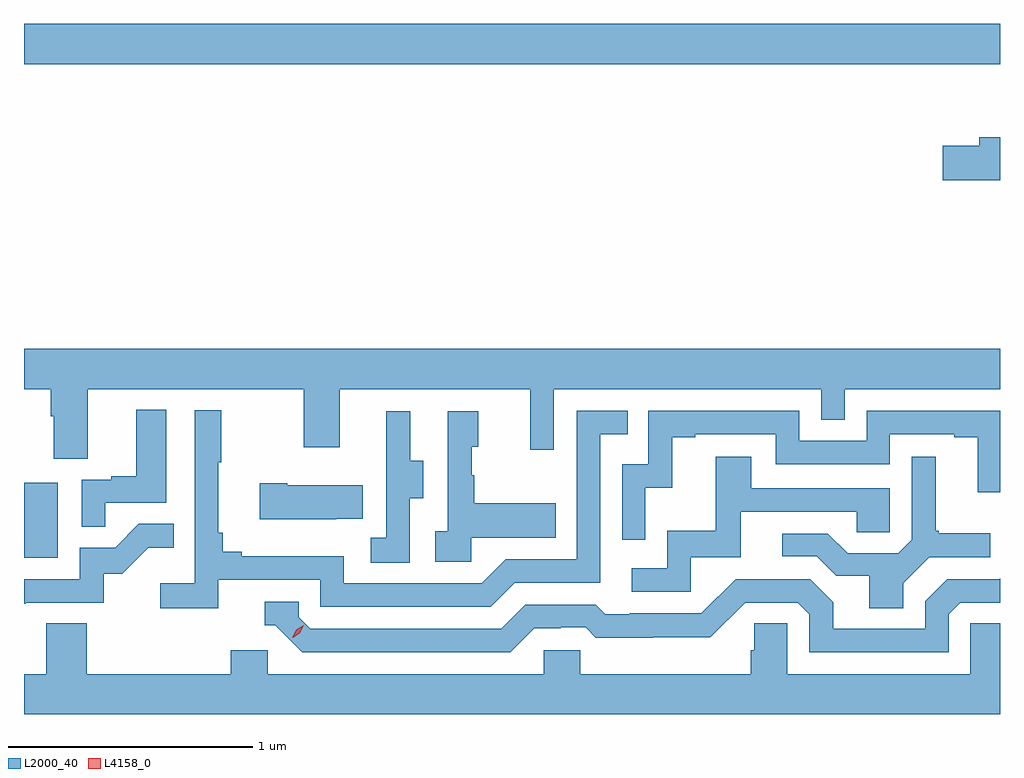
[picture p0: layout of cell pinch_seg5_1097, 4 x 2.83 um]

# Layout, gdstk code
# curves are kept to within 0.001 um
import gdstk
lib = gdstk.Library(unit=1e-6, precision=1e-09)
def R(c, l, rs):  # rectangles x0, y0, x1, y1
    for r in rs: c.add(gdstk.rectangle(r[:2], r[2:], *l))
def P(c, l, *ps):  # polygons
    for p in ps: c.add(gdstk.Polygon(p, *l))
L2000_40 = (2000, 40)
L4158_0 = (4158, 0)

pinch_seg5_1097 = lib.new_cell('pinch_seg5_1097')
R(pinch_seg5_1097, L2000_40, [(814.917,853.404,815.056,853.711), (814.917,855.428,818.917,855.592)])
P(pinch_seg5_1097, L2000_40, [(818.917,855.127),(818.831,855.127),(818.831,855.093),(818.682,855.093),(818.682,854.951),(818.917,854.951)],
  [(815.179,854.096),(816.064,854.096),(816.064,853.857),(816.211,853.857),(816.211,854.096),(816.992,854.096),(816.992,853.848),(817.089,853.848),(817.089,854.096),(818.184,854.096),(818.184,853.969),(818.28,853.969),(818.28,854.096),(818.917,854.096),(818.917,854.26),(814.917,854.26),(814.917,854.096),(815.027,854.096),(815.027,853.984),(815.039,853.984),(815.039,853.81),(815.179,853.81)],
  [(815.249,853.629),(815.5,853.629),(815.5,854.011),(815.378,854.011),(815.378,853.738),(815.275,853.738),(815.275,853.725),(815.154,853.725),(815.154,853.531),(815.249,853.531)],
  [(815.714,853.314),(816.132,853.314),(816.132,853.203),(816.829,853.203),(816.928,853.302),(817.278,853.302),(817.278,853.911),(817.391,853.911),(817.391,854.007),(817.182,854.007),(817.182,853.398),(816.891,853.398),(816.792,853.299),(816.228,853.299),(816.228,853.411),(815.809,853.411),(815.809,853.43),(815.732,853.43),(815.732,853.507),(815.713,853.507),(815.713,853.795),(815.725,853.795),(815.725,854.008),(815.616,854.008),(815.616,853.3),(815.475,853.3),(815.475,853.198),(815.714,853.198)],
  [(817.464,853.691),(817.574,853.691),(817.574,853.899),(817.669,853.899),(817.669,853.911),(817.998,853.911),(817.998,853.788),(818.466,853.788),(818.466,853.911),(818.729,853.911),(818.729,853.899),(818.825,853.899),(818.825,853.673),(818.917,853.673),(818.917,854.007),(818.37,854.007),(818.37,853.884),(818.094,853.884),(818.094,854.007),(817.476,854.007),(817.476,853.788),(817.368,853.788),(817.368,853.479),(817.464,853.479)],
  [(816.75,853.487),(817.097,853.487),(817.097,853.627),(816.763,853.627),(816.763,853.742),(816.753,853.742),(816.753,853.86),(816.778,853.86),(816.778,854.005),(816.654,854.005),(816.654,853.514),(816.603,853.514),(816.603,853.389),(816.75,853.389)],
  [(816.498,853.648),(816.553,853.648),(816.553,853.803),(816.499,853.803),(816.499,854.005),(816.401,854.005),(816.401,853.791),(816.402,853.791),(816.402,853.487),(816.339,853.487),(816.339,853.384),(816.498,853.384)],
  [(818.521,853.3),(818.628,853.407),(818.878,853.407),(818.878,853.504),(818.665,853.504),(818.665,853.516),(818.653,853.516),(818.653,853.819),(818.556,853.819),(818.556,853.479),(818.499,853.422),(818.293,853.422),(818.212,853.503),(818.025,853.503),(818.025,853.41),(818.166,853.41),(818.246,853.33),(818.381,853.33),(818.381,853.198),(818.521,853.198)],
  [(817.65,853.407),(817.855,853.407),(817.855,853.593),(818.329,853.593),(818.329,853.509),(818.466,853.509),(818.466,853.689),(817.897,853.689),(817.897,853.819),(817.753,853.819),(817.753,853.516),(817.554,853.516),(817.554,853.362),(817.407,853.362),(817.407,853.266),(817.65,853.266)],
  [(816.197,853.565),(816.305,853.565),(816.305,853.702),(815.995,853.702),(815.995,853.71),(815.883,853.71),(815.883,853.562),(816.197,853.562)],
  [(814.925,853.221),(815.244,853.221),(815.244,853.338),(815.32,853.338),(815.427,853.445),(815.531,853.445),(815.531,853.544),(815.388,853.544),(815.29,853.446),(815.145,853.446),(815.145,853.317),(814.917,853.317),(814.917,853.216),(814.925,853.216)],
  [(817.009,853.116),(817.116,853.116),(817.116,853.119),(817.219,853.119),(817.261,853.077),(817.494,853.077),(817.494,853.079),(817.73,853.079),(817.872,853.221),(818.088,853.221),(818.136,853.173),(818.136,853.017),(818.706,853.017),(818.706,853.173),(818.754,853.221),(818.917,853.221),(818.917,853.319),(818.916,853.317),(818.7,853.317),(818.61,853.227),(818.61,853.113),(818.233,853.113),(818.233,853.223),(818.139,853.317),(817.833,853.317),(817.692,853.176),(817.399,853.176),(817.399,853.173),(817.3,853.173),(817.261,853.212),(816.972,853.212),(816.873,853.113),(816.09,853.113),(816.042,853.161),(816.042,853.224),(815.903,853.224),(815.903,853.128),(815.946,853.128),(816.057,853.017),(816.91,853.017)],
  [(818.917,853.136),(818.796,853.136),(818.796,852.928),(818.046,852.928),(818.046,853.136),(817.909,853.136),(817.909,853.026),(817.895,853.026),(817.895,852.928),(817.197,852.928),(817.197,853.026),(817.047,853.026),(817.047,852.928),(815.916,852.928),(815.916,853.026),(815.765,853.026),(815.765,852.928),(815.174,852.928),(815.174,853.136),(815.009,853.136),(815.009,852.928),(814.917,852.928),(814.917,852.764),(818.917,852.764)])
P(pinch_seg5_1097, L4158_0, [(816.017,853.076),(816.017,853.077),(816.033,853.109),(816.064,853.128),(816.064,853.128),(816.064,853.128),(816.048,853.096),(816.018,853.076)])

lib.write_gds('pinch_seg5_1097.gds')
